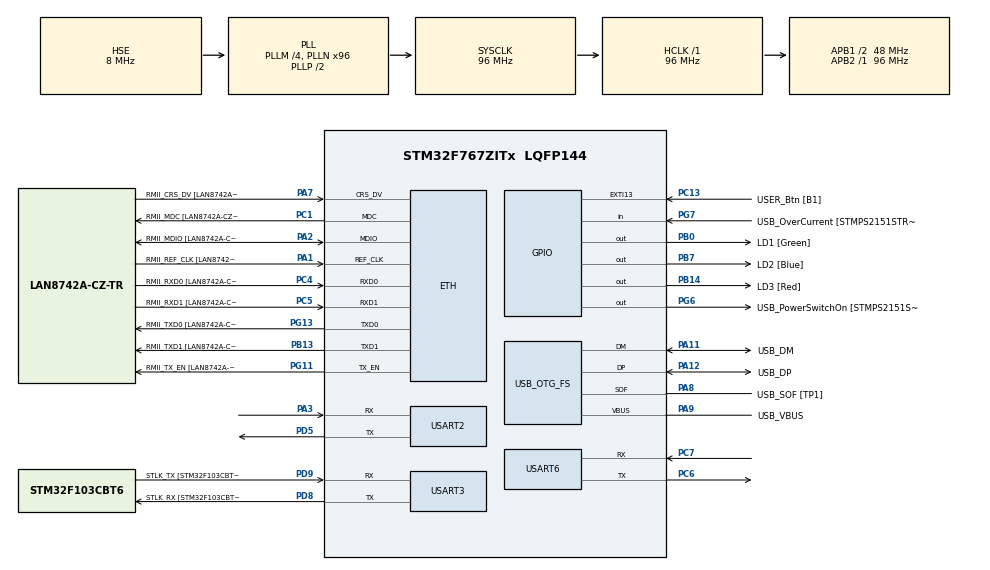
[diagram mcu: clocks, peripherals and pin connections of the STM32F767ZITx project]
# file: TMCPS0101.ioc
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ETH.MediaInterface=HAL_ETH_RMII_MODE
ETH.PHY_Name=LAN8742A_PHY_ADDRESS
ETH.PHY_Value=0
ETH.PhyAddress=0
FREERTOS.Tasks01=defaultTask,0,128,StartDefaultTask,Default,NULL,Dynamic,NULL,NULL;myTask01,0,128,StartTask02,Default,NULL,Dynamic,NULL,NULL;myTask02,0,128,StartTask03,Default,NULL,Dynamic,NULL,NULL
Mcu.Family=STM32F7
Mcu.Name=STM32F767ZITx
Mcu.Package=LQFP144
NVIC.OTG_FS_IRQn=true\:5\:0\:false\:false\:true\:true\:false\:true\:true
NVIC.PriorityGroup=NVIC_PRIORITYGROUP_4
PA1.GPIO_Label=RMII_REF_CLK [LAN8742A-CZ-TR_REFCLK0]
PA1.Mode=RMII
PA1.Signal=ETH_REF_CLK
PA10.GPIO_Label=USB_ID
PA10.Signal=USB_OTG_FS_ID
PA11.GPIO_Label=USB_DM
PA11.Mode=Device_Only
PA11.Signal=USB_OTG_FS_DM
PA12.GPIO_Label=USB_DP
PA12.Mode=Device_Only
PA12.Signal=USB_OTG_FS_DP
PA13.GPIO_Label=TMS
PA13.Mode=Serial_Wire
PA13.Signal=SYS_JTMS-SWDIO
PA14.GPIO_Label=TCK
PA14.Mode=Serial_Wire
PA14.Signal=SYS_JTCK-SWCLK
PA2.GPIO_Label=RMII_MDIO [LAN8742A-CZ-TR_MDIO]
PA2.Mode=RMII
PA2.Signal=ETH_MDIO
PA3.Mode=Asynchronous
PA3.Signal=USART2_RX
PA7.GPIO_Label=RMII_CRS_DV [LAN8742A-CZ-TR_CRS_DV]
PA7.Mode=RMII
PA7.Signal=ETH_CRS_DV
PA8.GPIO_Label=USB_SOF [TP1]
PA8.Mode=Activate_SOF_FS
PA8.Signal=USB_OTG_FS_SOF
PA9.GPIO_Label=USB_VBUS
PA9.Mode=Activate_VBUS
PA9.Signal=USB_OTG_FS_VBUS
PB0.GPIO_Label=LD1 [Green]
PB0.Signal=GPIO_Output
PB13.GPIO_Label=RMII_TXD1 [LAN8742A-CZ-TR_TXD1]
PB13.Mode=RMII
PB13.Signal=ETH_TXD1
PB14.GPIO_Label=LD3 [Red]
PB14.Signal=GPIO_Output
PB3.GPIO_Label=SWO
PB3.Signal=SYS_JTDO-SWO
PB7.GPIO_Label=LD2 [Blue]
PB7.Signal=GPIO_Output
PC1.GPIO_Label=RMII_MDC [LAN8742A-CZ-TR_MDC]
PC1.Mode=RMII
PC1.Signal=ETH_MDC
PC13.GPIO_Label=USER_Btn [B1]
PC13.Signal=GPXTI13
PC14/OSC32_IN.Mode=LSE-External-Oscillator
PC14/OSC32_IN.Signal=RCC_OSC32_IN
PC15/OSC32_OUT.Mode=LSE-External-Oscillator
PC15/OSC32_OUT.Signal=RCC_OSC32_OUT
PC4.GPIO_Label=RMII_RXD0 [LAN8742A-CZ-TR_RXD0]
PC4.Mode=RMII
PC4.Signal=ETH_RXD0
PC5.GPIO_Label=RMII_RXD1 [LAN8742A-CZ-TR_RXD1]
PC5.Mode=RMII
PC5.Signal=ETH_RXD1
PC6.Mode=Asynchronous
PC6.Signal=USART6_TX
PC7.Mode=Asynchronous
PC7.Signal=USART6_RX
PD5.Mode=Asynchronous
PD5.Signal=USART2_TX
PD8.GPIO_Label=STLK_RX [STM32F103CBT6_PA3]
PD8.Mode=Asynchronous
PD8.Signal=USART3_TX
PD9.GPIO_Label=STLK_TX [STM32F103CBT6_PA2]
PD9.Mode=Asynchronous
PD9.Signal=USART3_RX
PG11.GPIO_Label=RMII_TX_EN [LAN8742A-CZ-TR_TXEN]
PG11.Mode=RMII
PG11.Signal=ETH_TX_EN
PG13.GPIO_Label=RMII_TXD0 [LAN8742A-CZ-TR_TXD0]
PG13.Mode=RMII
PG13.Signal=ETH_TXD0
PG6.GPIO_Label=USB_PowerSwitchOn [STMPS2151STR_EN]
PG6.Signal=GPIO_Output
PG7.GPIO_Label=USB_OverCurrent [STMPS2151STR_FAULT]
PG7.Signal=GPIO_Input
PH0/OSC_IN.GPIO_Label=MCO [STM32F103CBT6_PA8]
PH0/OSC_IN.Mode=HSE-External-Clock-Source
PH0/OSC_IN.Signal=RCC_OSC_IN
PH1/OSC_OUT.Mode=HSE-External-Clock-Source
PH1/OSC_OUT.Signal=RCC_OSC_OUT
ProjectManager.HeapSize=0x200
ProjectManager.StackSize=0x400
ProjectManager.TargetToolchain=STM32CubeIDE
RCC.48MHZClocksFreq_Value=24000000
RCC.AHBFreq_Value=96000000
RCC.APB1CLKDivider=RCC_HCLK_DIV2
RCC.APB1Freq_Value=48000000
RCC.APB1TimFreq_Value=96000000
RCC.APB2Freq_Value=96000000
RCC.APB2TimFreq_Value=96000000
RCC.CortexFreq_Value=96000000
RCC.HCLKFreq_Value=96000000
RCC.HSE_VALUE=8000000
RCC.HSI_VALUE=16000000
RCC.PLLM=4
RCC.PLLMUL=RCC_PLL_MUL9
RCC.PLLN=96
RCC.PLLQ=4
RCC.PRESCALERUSB=RCC_USBCLKSOURCE_PLL_DIV1_5
RCC.SYSCLKFreq_VALUE=96000000
RCC.SYSCLKSource=RCC_SYSCLKSOURCE_PLLCLK
RCC.SYSCLKSourceVirtual=RCC_SYSCLKSOURCE_PLLCLK
RCC.USBFreq_Value=48000000
RCC.VCOOutputFreq_Value=192000000
USART2.VirtualMode-Asynchronous=VM_ASYNC
USART3.VirtualMode-Asynchronous=VM_ASYNC
USART6.VirtualMode-Asynchronous=VM_ASYNC
USB_DEVICE.CLASS_NAME_FS=CDC
USB_DEVICE.VirtualMode-CDC_FS=Cdc
USB_DEVICE.VirtualModeFS=Cdc_FS
USB_OTG_FS.VirtualMode=Device_Only
VP_FREERTOS_VS_CMSIS_V1.Mode=CMSIS_V1
VP_USB_DEVICE_VS_USB_DEVICE_CDC_FS.Mode=CDC_FS
board=NUCLEO-F767ZI

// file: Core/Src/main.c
/* USER CODE BEGIN Header */
/**
  ******************************************************************************
  * @file           : main.c
  * @brief          : Main program body
  ******************************************************************************
  * @attention
  *
  * Copyright (c) 2023 STMicroelectronics.
  * All rights reserved.
  *
  * This software is licensed under terms that can be found in the LICENSE file
  * in the root directory of this software component.
  * If no LICENSE file comes with this software, it is provided AS-IS.
  *
  ******************************************************************************
  */
/* USER CODE END Header */
#include "main.h"
#include "string.h"
#include "cmsis_os.h"
#include "usb_device.h"

/* USER CODE BEGIN Includes */
#include "usbd_cdc_if.h"
#include "sLog.h"
/* USER CODE END Includes */

/* USER CODE BEGIN PD */
#define DELAY_LED1_ON    1000
#define DELAY_LED1_OFF   2000
/* USER CODE END PD */

#if defined ( __ICCARM__ ) /*!< IAR Compiler */
#pragma location=0x2007c000
ETH_DMADescTypeDef  DMARxDscrTab[ETH_RX_DESC_CNT]; /* Ethernet Rx DMA Descriptors */
#pragma location=0x2007c0a0
ETH_DMADescTypeDef  DMATxDscrTab[ETH_TX_DESC_CNT]; /* Ethernet Tx DMA Descriptors */

#elif defined ( __CC_ARM )  /* MDK ARM Compiler */

__attribute__((at(0x2007c000))) ETH_DMADescTypeDef  DMARxDscrTab[ETH_RX_DESC_CNT]; /* Ethernet Rx DMA Descriptors */
__attribute__((at(0x2007c0a0))) ETH_DMADescTypeDef  DMATxDscrTab[ETH_TX_DESC_CNT]; /* Ethernet Tx DMA Descriptors */

#elif defined ( __GNUC__ ) /* GNU Compiler */
ETH_DMADescTypeDef DMARxDscrTab[ETH_RX_DESC_CNT] __attribute__((section(".RxDecripSection"))); /* Ethernet Rx DMA Descriptors */
ETH_DMADescTypeDef DMATxDscrTab[ETH_TX_DESC_CNT] __attribute__((section(".TxDecripSection")));   /* Ethernet Tx DMA Descriptors */

#endif

ETH_TxPacketConfig TxConfig;

ETH_HandleTypeDef heth;

UART_HandleTypeDef huart2;
UART_HandleTypeDef huart3;
UART_HandleTypeDef huart6;

osThreadId defaultTaskHandle;
osThreadId myTask01Handle;
osThreadId myTask02Handle;
/* USER CODE BEGIN PV */

enum {
  LED1_STATE_OFF = 0,
  LED1_STATE_ON
} LED1State;

uint8_t led_mode = LED1_STATE_OFF;
/* USER CODE END PV */

void SystemClock_Config(void);
static void MX_GPIO_Init(void);
static void MX_ETH_Init(void);
static void MX_USART3_UART_Init(void);
static void MX_USART2_UART_Init(void);
static void MX_USART6_UART_Init(void);
void StartDefaultTask(void const * argument);
void StartTask02(void const * argument);
void StartTask03(void const * argument);

int main(void)
{

  /* MCU Configuration--------------------------------------------------------*/

  /* Reset of all peripherals, Initializes the Flash interface and the Systick. */
  HAL_Init();

  /* Configure the system clock */
  SystemClock_Config();

  /* Initialize all configured peripherals */
  MX_GPIO_Init();
  MX_ETH_Init();
  MX_USART3_UART_Init();
  MX_USART2_UART_Init();
  MX_USART6_UART_Init();

  /* Create the thread(s) */
  /* definition and creation of defaultTask */
  osThreadDef(defaultTask, StartDefaultTask, osPriorityNormal, 0, 128);
  defaultTaskHandle = osThreadCreate(osThread(defaultTask), NULL);

  /* definition and creation of myTask01 */
  osThreadDef(myTask01, StartTask02, osPriorityNormal, 0, 128);
  myTask01Handle = osThreadCreate(osThread(myTask01), NULL);

  /* definition and creation of myTask02 */
  osThreadDef(myTask02, StartTask03, osPriorityNormal, 0, 128);
  myTask02Handle = osThreadCreate(osThread(myTask02), NULL);

  /* Start scheduler */
  osKernelStart();

  /* We should never get here as control is now taken by the scheduler */
  /* Infinite loop */
  while (1)
  {

  }
}

void SystemClock_Config(void)
{
  RCC_OscInitTypeDef RCC_OscInitStruct = {0};
  RCC_ClkInitTypeDef RCC_ClkInitStruct = {0};

  /** Configure LSE Drive Capability
  */
  HAL_PWR_EnableBkUpAccess();

  /** Configure the main internal regulator output voltage
  */
  __HAL_RCC_PWR_CLK_ENABLE();
  __HAL_PWR_VOLTAGESCALING_CONFIG(PWR_REGULATOR_VOLTAGE_SCALE3);

  /** Initializes the RCC Oscillators according to the specified parameters
  * in the RCC_OscInitTypeDef structure.
  */
  RCC_OscInitStruct.OscillatorType = RCC_OSCILLATORTYPE_HSE;
  RCC_OscInitStruct.HSEState = RCC_HSE_BYPASS;
  RCC_OscInitStruct.PLL.PLLState = RCC_PLL_ON;
  RCC_OscInitStruct.PLL.PLLSource = RCC_PLLSOURCE_HSE;
  RCC_OscInitStruct.PLL.PLLM = 4;
  RCC_OscInitStruct.PLL.PLLN = 96;
  RCC_OscInitStruct.PLL.PLLP = RCC_PLLP_DIV2;
  RCC_OscInitStruct.PLL.PLLQ = 4;
  RCC_OscInitStruct.PLL.PLLR = 2;
  if (HAL_RCC_OscConfig(&RCC_OscInitStruct) != HAL_OK)
  {
    Error_Handler();
  }

  /** Activate the Over-Drive mode
  */
  if (HAL_PWREx_EnableOverDrive() != HAL_OK)
  {
    Error_Handler();
  }

  /** Initializes the CPU, AHB and APB buses clocks
  */
  RCC_ClkInitStruct.ClockType = RCC_CLOCKTYPE_HCLK|RCC_CLOCKTYPE_SYSCLK
                              |RCC_CLOCKTYPE_PCLK1|RCC_CLOCKTYPE_PCLK2;
  RCC_ClkInitStruct.SYSCLKSource = RCC_SYSCLKSOURCE_PLLCLK;
  RCC_ClkInitStruct.AHBCLKDivider = RCC_SYSCLK_DIV1;
  RCC_ClkInitStruct.APB1CLKDivider = RCC_HCLK_DIV2;
  RCC_ClkInitStruct.APB2CLKDivider = RCC_HCLK_DIV1;

  if (HAL_RCC_ClockConfig(&RCC_ClkInitStruct, FLASH_LATENCY_3) != HAL_OK)
  {
    Error_Handler();
  }
}

static void MX_ETH_Init(void)
{

   static uint8_t MACAddr[6];

  heth.Instance = ETH;
  MACAddr[0] = 0x00;
  MACAddr[1] = 0x80;
  MACAddr[2] = 0xE1;
  MACAddr[3] = 0x00;
  MACAddr[4] = 0x00;
  MACAddr[5] = 0x00;
  heth.Init.MACAddr = &MACAddr[0];
  heth.Init.MediaInterface = HAL_ETH_RMII_MODE;
  heth.Init.TxDesc = DMATxDscrTab;
  heth.Init.RxDesc = DMARxDscrTab;
  heth.Init.RxBuffLen = 1524;

  if (HAL_ETH_Init(&heth) != HAL_OK)
  {
    Error_Handler();
  }

  memset(&TxConfig, 0 , sizeof(ETH_TxPacketConfig));
  TxConfig.Attributes = ETH_TX_PACKETS_FEATURES_CSUM | ETH_TX_PACKETS_FEATURES_CRCPAD;
  TxConfig.ChecksumCtrl = ETH_CHECKSUM_IPHDR_PAYLOAD_INSERT_PHDR_CALC;
  TxConfig.CRCPadCtrl = ETH_CRC_PAD_INSERT;

}

static void MX_USART2_UART_Init(void)
{

  huart2.Instance = USART2;
  huart2.Init.BaudRate = 115200;
  huart2.Init.WordLength = UART_WORDLENGTH_8B;
  huart2.Init.StopBits = UART_STOPBITS_1;
  huart2.Init.Parity = UART_PARITY_NONE;
  huart2.Init.Mode = UART_MODE_TX_RX;
  huart2.Init.HwFlowCtl = UART_HWCONTROL_NONE;
  huart2.Init.OverSampling = UART_OVERSAMPLING_16;
  huart2.Init.OneBitSampling = UART_ONE_BIT_SAMPLE_DISABLE;
  huart2.AdvancedInit.AdvFeatureInit = UART_ADVFEATURE_NO_INIT;
  if (HAL_UART_Init(&huart2) != HAL_OK)
  {
    Error_Handler();
  }

}

static void MX_USART3_UART_Init(void)
{

  huart3.Instance = USART3;
  huart3.Init.BaudRate = 115200;
  huart3.Init.WordLength = UART_WORDLENGTH_8B;
  huart3.Init.StopBits = UART_STOPBITS_1;
  huart3.Init.Parity = UART_PARITY_NONE;
  huart3.Init.Mode = UART_MODE_TX_RX;
  huart3.Init.HwFlowCtl = UART_HWCONTROL_NONE;
  huart3.Init.OverSampling = UART_OVERSAMPLING_16;
  huart3.Init.OneBitSampling = UART_ONE_BIT_SAMPLE_DISABLE;
  huart3.AdvancedInit.AdvFeatureInit = UART_ADVFEATURE_NO_INIT;
  if (HAL_UART_Init(&huart3) != HAL_OK)
  {
    Error_Handler();
  }

}

static void MX_USART6_UART_Init(void)
{

  huart6.Instance = USART6;
  huart6.Init.BaudRate = 115200;
  huart6.Init.WordLength = UART_WORDLENGTH_8B;
  huart6.Init.StopBits = UART_STOPBITS_1;
  huart6.Init.Parity = UART_PARITY_NONE;
  huart6.Init.Mode = UART_MODE_TX_RX;
  huart6.Init.HwFlowCtl = UART_HWCONTROL_NONE;
  huart6.Init.OverSampling = UART_OVERSAMPLING_16;
  huart6.Init.OneBitSampling = UART_ONE_BIT_SAMPLE_DISABLE;
  huart6.AdvancedInit.AdvFeatureInit = UART_ADVFEATURE_NO_INIT;
  if (HAL_UART_Init(&huart6) != HAL_OK)
  {
    Error_Handler();
  }

}

static void MX_GPIO_Init(void)
{
  GPIO_InitTypeDef GPIO_InitStruct = {0};

  /* GPIO Ports Clock Enable */
  __HAL_RCC_GPIOC_CLK_ENABLE();
  __HAL_RCC_GPIOH_CLK_ENABLE();
  __HAL_RCC_GPIOA_CLK_ENABLE();
  __HAL_RCC_GPIOB_CLK_ENABLE();
  __HAL_RCC_GPIOD_CLK_ENABLE();
  __HAL_RCC_GPIOG_CLK_ENABLE();

  /*Configure GPIO pin Output Level */
  HAL_GPIO_WritePin(GPIOB, LD1_Pin|LD3_Pin|LD2_Pin, GPIO_PIN_RESET);

  /*Configure GPIO pin Output Level */
  HAL_GPIO_WritePin(USB_PowerSwitchOn_GPIO_Port, USB_PowerSwitchOn_Pin, GPIO_PIN_RESET);

  /*Configure GPIO pin : USER_Btn_Pin */
  GPIO_InitStruct.Pin = USER_Btn_Pin;
  GPIO_InitStruct.Mode = GPIO_MODE_IT_RISING;
  GPIO_InitStruct.Pull = GPIO_NOPULL;
  HAL_GPIO_Init(USER_Btn_GPIO_Port, &GPIO_InitStruct);

  /*Configure GPIO pins : LD1_Pin LD3_Pin LD2_Pin */
  GPIO_InitStruct.Pin = LD1_Pin|LD3_Pin|LD2_Pin;
  GPIO_InitStruct.Mode = GPIO_MODE_OUTPUT_PP;
  GPIO_InitStruct.Pull = GPIO_NOPULL;
  GPIO_InitStruct.Speed = GPIO_SPEED_FREQ_LOW;
  HAL_GPIO_Init(GPIOB, &GPIO_InitStruct);

  /*Configure GPIO pin : USB_PowerSwitchOn_Pin */
  GPIO_InitStruct.Pin = USB_PowerSwitchOn_Pin;
  GPIO_InitStruct.Mode = GPIO_MODE_OUTPUT_PP;
  GPIO_InitStruct.Pull = GPIO_NOPULL;
  GPIO_InitStruct.Speed = GPIO_SPEED_FREQ_LOW;
  HAL_GPIO_Init(USB_PowerSwitchOn_GPIO_Port, &GPIO_InitStruct);

  /*Configure GPIO pin : USB_OverCurrent_Pin */
  GPIO_InitStruct.Pin = USB_OverCurrent_Pin;
  GPIO_InitStruct.Mode = GPIO_MODE_INPUT;
  GPIO_InitStruct.Pull = GPIO_NOPULL;
  HAL_GPIO_Init(USB_OverCurrent_GPIO_Port, &GPIO_InitStruct);

}

void StartDefaultTask(void const * argument)
{
  /* init code for USB_DEVICE */
  MX_USB_DEVICE_Init();
  /* USER CODE BEGIN 5 */
  sLogPrint("Initialization is completed\r\n");
  /* Infinite loop */
  for(;;)
  {
    HAL_GPIO_WritePin(LD1_GPIO_Port, LD1_Pin, led_mode);
    sLogUpdate();
    osDelay(1);
  }
  /* USER CODE END 5 */
}

void StartTask02(void const * argument)
{
  /* USER CODE BEGIN StartTask02 */
  /* Infinite loop */
  for(;;)
  {
      const uint8_t Test1 = '1';
      HAL_StatusTypeDef transmission_status = HAL_UART_Transmit(&huart6,&Test1,1,100);
      switch(transmission_status){
        case HAL_OK:       sLogPrint("Transmitted message #1\r\n"); break;
        case HAL_ERROR:    sLogPrint("Error with transmission message #1\r\n"); break;
        case HAL_BUSY:     sLogPrint("USART is busy (message #1)\r\n"); break;
        case HAL_TIMEOUT:  sLogPrint("Transmission is timeout (message #1)\r\n"); break;
      }
      osDelay(DELAY_LED1_ON);
      const uint8_t Test2 = '2';
      transmission_status = HAL_UART_Transmit(&huart6,&Test2,1,100);
      switch(transmission_status){
        case HAL_OK:       sLogPrint("Transmitted message #2\r\n"); break;
        case HAL_ERROR:    sLogPrint("Error with transmission message #2\r\n"); break;
        case HAL_BUSY:     sLogPrint("USART is busy (message #2)\r\n"); break;
        case HAL_TIMEOUT:  sLogPrint("Transmission is timeout (message #2)\r\n"); break;
      }
      osDelay(DELAY_LED1_OFF);
  }
  /* USER CODE END StartTask02 */
}

void StartTask03(void const * argument)
{
  /* USER CODE BEGIN StartTask03 */
  /* Infinite loop */
  for(;;)
  {
	  uint8_t Test = 0;
	  HAL_StatusTypeDef receive_status = HAL_UART_Receive(&huart2, &Test, 1, 500);
      switch(receive_status){
        case HAL_OK:
        sLogPrint("Received:%c%c", Test, '\n');
        if(Test == '1'){
          led_mode = LED1_STATE_ON;
        }
        else if (Test == '2'){
           led_mode = LED1_STATE_OFF;
        }
        break;
        case HAL_ERROR:    sLogPrint("Error with receiving\r\n"); break;
        case HAL_BUSY:     sLogPrint("USART is busy (receiving)\r\n"); break;
        case HAL_TIMEOUT:  sLogPrint("Receiving is timeout\r\n"); break;
      }
      osDelay(1);
    }
  /* USER CODE END StartTask03 */
}
void Error_Handler(void)
{
  __disable_irq();
  while (1)
  {
  }
}
